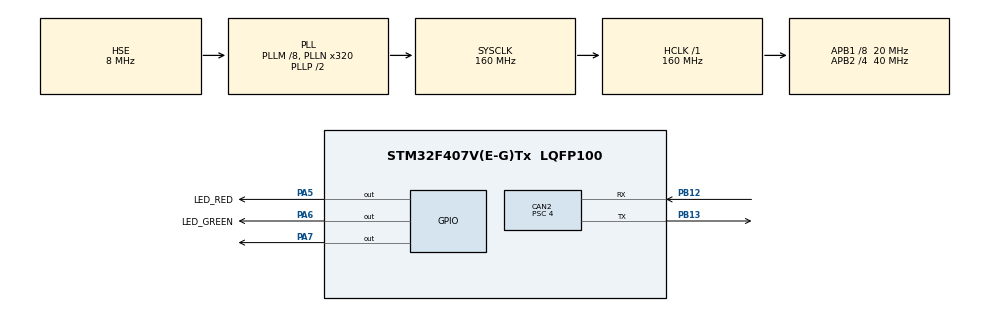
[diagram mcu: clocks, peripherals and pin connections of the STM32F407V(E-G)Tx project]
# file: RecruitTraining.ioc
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CAN2.BS1=CAN_BS1_5TQ
CAN2.BS2=CAN_BS2_4TQ
CAN2.CalculateTimeQuantum=200.0
CAN2.Mode=CAN_MODE_NORMAL
CAN2.Prescaler=4
FREERTOS.Tasks01=defaultTask,24,128,StartDefaultTask,Default,NULL,Dynamic,NULL,NULL
Mcu.Family=STM32F4
Mcu.Name=STM32F407V(E-G)Tx
Mcu.Package=LQFP100
NVIC.PriorityGroup=NVIC_PRIORITYGROUP_4
NVIC.TIM2_IRQn=true\:0\:0\:false\:false\:true\:false\:false\:true
NVIC.TimeBase=TIM2_IRQn
NVIC.TimeBaseIP=TIM2
PA13.GPIO_Label=SWDIO
PA13.Signal=SYS_JTMS-SWDIO
PA14.GPIO_Label=SWCLK
PA14.Signal=SYS_JTCK-SWCLK
PA5.GPIO_Label=LED_RED
PA5.Signal=GPIO_Output
PA6.GPIO_Label=LED_GREEN
PA6.Signal=GPIO_Output
PA7.Signal=GPIO_Output
PB12.Mode=Slave
PB12.Signal=CAN2_RX
PB13.Mode=Slave
PB13.Signal=CAN2_TX
PB3.GPIO_Label=SWO
PB3.Signal=SYS_JTDO-SWO
PH0-OSC_IN.GPIO_Label=PH0-OSC_IN
PH0-OSC_IN.Mode=HSE-External-Oscillator
PH0-OSC_IN.Signal=RCC_OSC_IN
PH1-OSC_OUT.GPIO_Label=PH1-OSC_OUT
PH1-OSC_OUT.Mode=HSE-External-Oscillator
PH1-OSC_OUT.Signal=RCC_OSC_OUT
ProjectManager.HeapSize=0x200
ProjectManager.StackSize=0x400
ProjectManager.TargetToolchain=Makefile
RCC.48MHZClocksFreq_Value=45714285.71428572
RCC.AHBFreq_Value=160000000
RCC.APB1CLKDivider=RCC_HCLK_DIV8
RCC.APB1Freq_Value=20000000
RCC.APB1TimFreq_Value=40000000
RCC.APB2CLKDivider=RCC_HCLK_DIV4
RCC.APB2Freq_Value=40000000
RCC.APB2TimFreq_Value=80000000
RCC.CortexFreq_Value=160000000
RCC.HCLKFreq_Value=160000000
RCC.HSE_VALUE=8000000
RCC.HSI_VALUE=16000000
RCC.LSE_VALUE=32768
RCC.PLLM=8
RCC.PLLN=320
RCC.PLLQ=7
RCC.PLLSourceVirtual=RCC_PLLSOURCE_HSE
RCC.SYSCLKFreq_VALUE=160000000
RCC.SYSCLKSource=RCC_SYSCLKSOURCE_PLLCLK
RCC.VCOOutputFreq_Value=320000000
VP_FREERTOS_VS_CMSIS_V2.Mode=CMSIS_V2
VP_SYS_VS_tim2.Mode=TIM2
board=STM32F407G-DISC1

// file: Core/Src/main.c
/* USER CODE BEGIN Header */
/**
  ******************************************************************************
  * @file           : main.c
  * @brief          : Main program body
  ******************************************************************************
  * @attention
  *
  * <h2><center>&copy; Copyright (c) 2019 STMicroelectronics.
  * All rights reserved.</center></h2>
  *
  * This software component is licensed by ST under Ultimate Liberty license
  * SLA0044, the "License"; You may not use this file except in compliance with
  * the License. You may obtain a copy of the License at:
  *                             www.st.com/SLA0044
  *
  ******************************************************************************
  */
/* USER CODE END Header */

#include "main.h"
#include "cmsis_os.h"

/* USER CODE BEGIN Includes */
//TODO: Include task header files
/* USER CODE END Includes */

CAN_HandleTypeDef hcan2;

osThreadId_t defaultTaskHandle;
/* USER CODE BEGIN PV */
static const uint32_t BLUE_MESSAGE_STDID = 0xAAA;
//TODO: Add STDID for green message
//TODO: Add CAN_TX header definition
//TODO: Define thread for tasks
//TODO: Define a blue LED toggle flag and a green LED toggle flag
/* USER CODE END PV */

void SystemClock_Config(void);
static void MX_GPIO_Init(void);
static void MX_CAN2_Init(void);
void StartDefaultTask(void* argument);

/* USER CODE BEGIN PFP */
static void MX_CAN2_UserInit(void);
/* USER CODE END PFP */

int main(void)
{

    /* MCU Configuration--------------------------------------------------------*/

    /* Reset of all peripherals, Initializes the Flash interface and the Systick. */
    HAL_Init();

    /* Configure the system clock */
    SystemClock_Config();

    /* Initialize all configured peripherals */
    MX_GPIO_Init();
    MX_CAN2_Init();

    /* USER CODE BEGIN 2 */
    //TODO: Call MX_CAN2_UserInit
    //Activate Can Recieve Interrupts
    if (HAL_CAN_ActivateNotification(&hcan2, CAN_IT_RX_FIFO0_MSG_PENDING |
                                    CAN_IT_ERROR_WARNING |
                                    CAN_IT_ERROR_PASSIVE |
                                    CAN_IT_BUSOFF |
                                    CAN_IT_LAST_ERROR_CODE |
                                    CAN_IT_ERROR) != HAL_OK)
    {
        /* Reception error */
        Error_Handler();
    }

    /* USER CODE END 2 */

    osKernelInitialize();

    /* USER CODE BEGIN RTOS_MUTEX */
    //TODO: Define and create mutexes and mutex attributes
    /* add mutexes, ... */
    /* USER CODE END RTOS_MUTEX */

    /* Create the thread(s) */
    /* definition and creation of defaultTask */
    const osThreadAttr_t defaultTask_attributes =
    {
        .name = "defaultTask",
        .priority = (osPriority_t) osPriorityNormal,
        .stack_size = 128
    };
    defaultTaskHandle = osThreadNew(StartDefaultTask, NULL, &defaultTask_attributes);

    /* USER CODE BEGIN RTOS_THREADS */
    //TODO: Create threads and thread attributes
    /* add threads, ... */
    /* USER CODE END RTOS_THREADS */

    /* Start scheduler */
    osKernelStart();

    /* We should never get here as control is now taken by the scheduler */

    /* Infinite loop */
    while (1)
    {

    }
}

void SystemClock_Config(void)
{
    RCC_OscInitTypeDef RCC_OscInitStruct = {0};
    RCC_ClkInitTypeDef RCC_ClkInitStruct = {0};

    /** Configure the main internal regulator output voltage
    */
    __HAL_RCC_PWR_CLK_ENABLE();
    __HAL_PWR_VOLTAGESCALING_CONFIG(PWR_REGULATOR_VOLTAGE_SCALE1);
    /** Initializes the CPU, AHB and APB busses clocks
    */
    RCC_OscInitStruct.OscillatorType = RCC_OSCILLATORTYPE_HSE;
    RCC_OscInitStruct.HSEState = RCC_HSE_ON;
    RCC_OscInitStruct.PLL.PLLState = RCC_PLL_ON;
    RCC_OscInitStruct.PLL.PLLSource = RCC_PLLSOURCE_HSE;
    RCC_OscInitStruct.PLL.PLLM = 8;
    RCC_OscInitStruct.PLL.PLLN = 320;
    RCC_OscInitStruct.PLL.PLLP = RCC_PLLP_DIV2;
    RCC_OscInitStruct.PLL.PLLQ = 7;

    if (HAL_RCC_OscConfig(&RCC_OscInitStruct) != HAL_OK)
    {
        Error_Handler();
    }

    /** Initializes the CPU, AHB and APB busses clocks
    */
    RCC_ClkInitStruct.ClockType = RCC_CLOCKTYPE_HCLK | RCC_CLOCKTYPE_SYSCLK
                                  | RCC_CLOCKTYPE_PCLK1 | RCC_CLOCKTYPE_PCLK2;
    RCC_ClkInitStruct.SYSCLKSource = RCC_SYSCLKSOURCE_PLLCLK;
    RCC_ClkInitStruct.AHBCLKDivider = RCC_SYSCLK_DIV1;
    RCC_ClkInitStruct.APB1CLKDivider = RCC_HCLK_DIV8;
    RCC_ClkInitStruct.APB2CLKDivider = RCC_HCLK_DIV4;

    if (HAL_RCC_ClockConfig(&RCC_ClkInitStruct, FLASH_LATENCY_5) != HAL_OK)
    {
        Error_Handler();
    }
}

static void MX_CAN2_Init(void)
{

    hcan2.Instance = CAN2;
    hcan2.Init.Prescaler = 4;
    hcan2.Init.Mode = CAN_MODE_NORMAL;
    hcan2.Init.SyncJumpWidth = CAN_SJW_1TQ;
    hcan2.Init.TimeSeg1 = CAN_BS1_5TQ;
    hcan2.Init.TimeSeg2 = CAN_BS2_4TQ;
    hcan2.Init.TimeTriggeredMode = DISABLE;
    hcan2.Init.AutoBusOff = DISABLE;
    hcan2.Init.AutoWakeUp = DISABLE;
    hcan2.Init.AutoRetransmission = DISABLE;
    hcan2.Init.ReceiveFifoLocked = DISABLE;
    hcan2.Init.TransmitFifoPriority = DISABLE;

    if (HAL_CAN_Init(&hcan2) != HAL_OK)
    {
        Error_Handler();
    }

}

static void MX_GPIO_Init(void)
{
    GPIO_InitTypeDef GPIO_InitStruct = {0};

    /* GPIO Ports Clock Enable */
    __HAL_RCC_GPIOH_CLK_ENABLE();
    __HAL_RCC_GPIOA_CLK_ENABLE();
    __HAL_RCC_GPIOB_CLK_ENABLE();

    /*Configure GPIO pin Output Level */
    HAL_GPIO_WritePin(GPIOA, LED_RED_Pin | LED_GREEN_Pin | GPIO_PIN_7, GPIO_PIN_RESET);

    /*Configure GPIO pins : LED_RED_Pin LED_GREEN_Pin PA7 */
    GPIO_InitStruct.Pin = LED_RED_Pin | LED_GREEN_Pin | GPIO_PIN_7;
    GPIO_InitStruct.Mode = GPIO_MODE_OUTPUT_PP;
    GPIO_InitStruct.Pull = GPIO_NOPULL;
    GPIO_InitStruct.Speed = GPIO_SPEED_FREQ_LOW;
    HAL_GPIO_Init(GPIOA, &GPIO_InitStruct);

}

/* USER CODE BEGIN 4 */
void HAL_CAN_RxFifo0MsgPendingCallback(CAN_HandleTypeDef* hcan)
{
    CAN_RxHeaderTypeDef hdr;
    uint8_t             data[8] = {0};

    if (HAL_CAN_GetRxMessage(hcan, CAN_RX_FIFO0, &hdr, data) != HAL_OK)
    {
        return;
    }

    //TODO: Match StdId of header and data length content for green and blue messages and check data for set bit of toggling green and blue led
}

static void MX_CAN2_UserInit(void)
{
    CAN_FilterTypeDef blueMessageFilterConfig;
    blueMessageFilterConfig.FilterBank = 0; // Use first filter bank
    blueMessageFilterConfig.FilterMode = CAN_FILTERMODE_IDLIST; //Look for specific CAN messages
    blueMessageFilterConfig.FilterScale = CAN_FILTERSCALE_32BIT;
    blueMessageFilterConfig.FilterIdHigh = BLUE_MESSAGE_STDID << 5; // Filter registers need to be shifted left 5 bits
    blueMessageFilterConfig.FilterIdLow = 0;
    blueMessageFilterConfig.FilterMaskIdHigh = 0;
    blueMessageFilterConfig.FilterFIFOAssignment = 0; //unused
    blueMessageFilterConfig.FilterActivation = ENABLE;
    blueMessageFilterConfig.SlaveStartFilterBank = 0; // set all filter banks for CAN2

    if (HAL_CAN_ConfigFilter(&hcan2, &blueMessageFilterConfig) != HAL_OK)
    {
        /* Filter configuration Error */
        Error_Handler();
    }

    //TODO: Configure filter for green message
    //TODO: Configure CAN_TX header
}
/* USER CODE END 4 */

void StartDefaultTask(void* argument)
{

    for (;;)
    {
        osDelay(1);
    }
}

void HAL_TIM_PeriodElapsedCallback(TIM_HandleTypeDef* htim)
{
    if (htim->Instance == TIM2)
    {
        HAL_IncTick();
    }

}

void Error_Handler(void)
{
}

/************************ (C) COPYRIGHT STMicroelectronics *****END OF FILE****/
